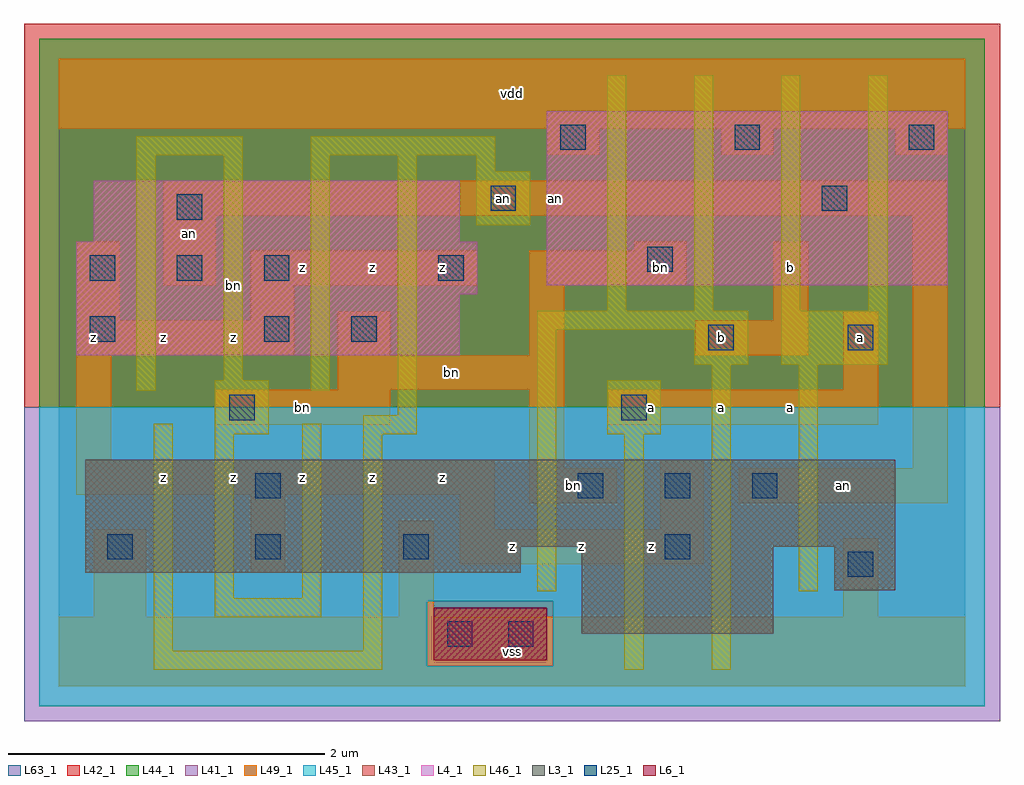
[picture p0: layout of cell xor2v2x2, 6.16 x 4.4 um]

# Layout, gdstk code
import gdstk
lib = gdstk.Library(unit=1e-6, precision=1e-09)
def R(c, l, rs):  # rectangles x0, y0, x1, y1
    for r in rs: c.add(gdstk.rectangle(r[:2], r[2:], *l))
def A(c, l, x, y, w, h, nx, ny, dx, dy):  # array of equal rectangles
    R(c, l, [(x+i*dx, y+j*dy, x+i*dx+w, y+j*dy+h) for i in range(nx) for j in range(ny)])
L3_1 = (3, 1)
L4_1 = (4, 1)
L6_1 = (6, 1)
L25_1 = (25, 1)
L41_1 = (41, 1)
L42_1 = (42, 1)
L43_1 = (43, 1)
L44_1 = (44, 1)
L45_1 = (45, 1)
L46_1 = (46, 1)
L49_1 = (49, 1)
L63_1 = (63, 1)

xor2v2x2 = lib.new_cell('xor2v2x2')
R(xor2v2x2, L3_1, [(3.3,0.33,4.51,0.88), (4.895,0.605,5.28,0.88), (0.165,0.715,2.915,0.88), (0.165,0.88,5.28,1.43)])
R(xor2v2x2, L4_1, [(0.11,2.09,2.53,2.475), (0.11,2.475,2.64,2.805), (3.08,2.53,5.61,3.63), (0.22,2.805,2.53,3.19)])
R(xor2v2x2, L6_1, [(2.365,0.165,3.08,0.495)])
A(xor2v2x2, L25_1, 0.305, 0.8, 0.16, 0.16, 3, 1, 0.935, 0)
A(xor2v2x2, L25_1, 3.275, 1.185, 0.16, 0.16, 3, 1, 0.55, 0)
A(xor2v2x2, L25_1, 0.195, 2.56, 0.16, 0.16, 3, 1, 0.55, 0)
A(xor2v2x2, L25_1, 3.165, 3.385, 0.16, 0.16, 3, 1, 1.1, 0)
R(xor2v2x2, L25_1, [(2.45,0.25,2.61,0.41), (2.835,0.25,2.995,0.41), (4.98,0.69,5.14,0.85), (3.825,0.8,3.985,0.96), (1.24,1.185,1.4,1.345), (1.075,1.68,1.235,1.84), (3.55,1.68,3.71,1.84), (4.1,2.12,4.26,2.28), (4.98,2.12,5.14,2.28), (0.195,2.175,0.355,2.335), (1.295,2.175,1.455,2.335), (1.845,2.175,2.005,2.335), (2.395,2.56,2.555,2.72), (3.715,2.615,3.875,2.775), (0.745,2.945,0.905,3.105), (2.725,3,2.885,3.16), (4.815,3,4.975,3.16)])
R(xor2v2x2, L41_1, [(-0.22,-0.22,5.94,1.76)])
R(xor2v2x2, L42_1, [(-0.22,1.76,5.94,4.18)])
R(xor2v2x2, L43_1, [(2.365,0.165,3.08,0.495), (3.3,0.33,4.51,0.88), (4.895,0.605,5.28,0.88), (0.165,0.715,2.915,0.88), (0.165,0.88,5.28,1.43), (0.11,2.09,2.53,2.475), (0.11,2.475,2.64,2.805), (3.08,2.53,5.61,3.63), (0.22,2.805,2.53,3.19)])
R(xor2v2x2, L44_1, [(2.325,0.125,3.12,0.535), (-0.125,1.76,5.845,4.085)])
R(xor2v2x2, L45_1, [(-0.125,-0.125,5.845,0.125), (-0.125,0.125,2.325,0.535), (3.12,0.125,5.845,0.535), (-0.125,0.535,5.845,1.76)])
A(xor2v2x2, L46_1, 3.46, 2.37, 0.12, 1.485, 4, 1, 0.55, 0)
R(xor2v2x2, L46_1, [(0.6,0.105,2.04,0.225), (3.57,0.105,3.69,1.59), (4.12,0.105,4.24,2.03), (0.6,0.225,0.72,1.655), (1.92,0.225,2.04,1.59), (0.985,0.435,1.655,0.555), (0.985,0.555,1.105,1.59), (1.535,0.555,1.655,1.655), (3.02,0.6,3.14,2.25), (4.67,0.6,4.79,2.03), (0.985,1.59,1.325,1.93), (1.92,1.59,2.26,1.71), (3.46,1.59,3.8,1.93), (2.14,1.71,2.26,3.35), (0.49,1.865,0.61,3.35), (1.59,1.865,1.71,3.35), (1.04,1.93,1.16,3.35), (4.01,2.03,4.35,2.25), (4.56,2.03,5.23,2.37), (3.02,2.25,4.35,2.37), (2.635,2.91,2.975,3.25), (2.635,3.25,2.755,3.35), (0.49,3.35,1.16,3.47), (1.59,3.35,2.755,3.47)])
A(xor2v2x2, L49_1, 3.08, 3.355, 0.33, 0.165, 3, 1, 1.1, 0)
R(xor2v2x2, L49_1, [(0,0,5.72,0.44), (0.22,0.44,0.55,0.99), (2.145,0.44,2.365,1.045), (4.95,0.44,5.17,0.935), (1.21,0.715,1.43,1.21), (2.53,0.77,4.07,0.99), (2.53,0.99,2.75,1.21), (3.795,0.99,4.07,1.43), (2.97,1.155,3.52,1.375), (4.29,1.155,5.61,1.375), (0.11,1.21,2.75,1.43), (2.97,1.375,3.19,1.87), (5.39,1.375,5.61,2.97), (0.11,1.43,0.33,2.09), (0.99,1.65,2.09,1.87), (3.465,1.65,5.17,1.87), (1.76,1.87,3.19,2.09), (4.95,1.87,5.17,2.365), (0.11,2.09,1.485,2.31), (1.76,2.09,2.09,2.365), (2.97,2.09,3.19,2.53), (4.015,2.09,4.73,2.31), (0.11,2.31,0.385,2.805), (1.21,2.31,1.485,2.53), (4.51,2.31,4.73,2.805), (0.66,2.53,0.99,2.97), (1.21,2.53,2.64,2.75), (2.97,2.53,3.96,2.75), (3.63,2.75,3.96,2.805), (0.66,2.97,5.61,3.19), (0,3.52,5.72,3.96)])
R(xor2v2x2, L63_1, [(0,0,5.72,3.96)])
xor2v2x2.add(gdstk.Label('bn', (1.1,2.53), layer=46, texttype=1))
xor2v2x2.add(gdstk.Label('an', (2.805,3.08), layer=49, texttype=1))
xor2v2x2.add(gdstk.Label('z', (0.66,1.32), layer=49, texttype=1))
xor2v2x2.add(gdstk.Label('z', (0.22,2.2), layer=49, texttype=1))
xor2v2x2.add(gdstk.Label('z', (0.66,2.2), layer=49, texttype=1))
xor2v2x2.add(gdstk.Label('an', (0.825,2.86), layer=49, texttype=1))
xor2v2x2.add(gdstk.Label('z', (1.1,1.32), layer=49, texttype=1))
xor2v2x2.add(gdstk.Label('z', (1.54,1.32), layer=49, texttype=1))
xor2v2x2.add(gdstk.Label('z', (1.98,1.32), layer=49, texttype=1))
xor2v2x2.add(gdstk.Label('bn', (1.54,1.76), layer=49, texttype=1))
xor2v2x2.add(gdstk.Label('z', (1.1,2.2), layer=49, texttype=1))
xor2v2x2.add(gdstk.Label('z', (1.54,2.64), layer=49, texttype=1))
xor2v2x2.add(gdstk.Label('z', (1.98,2.64), layer=49, texttype=1))
xor2v2x2.add(gdstk.Label('vss', (2.86,0.22), layer=49, texttype=1))
xor2v2x2.add(gdstk.Label('z', (3.3,0.88), layer=49, texttype=1))
xor2v2x2.add(gdstk.Label('z', (2.86,0.88), layer=49, texttype=1))
xor2v2x2.add(gdstk.Label('z', (2.42,1.32), layer=49, texttype=1))
xor2v2x2.add(gdstk.Label('bn', (2.475,1.98), layer=49, texttype=1))
xor2v2x2.add(gdstk.Label('z', (2.42,2.64), layer=49, texttype=1))
xor2v2x2.add(gdstk.Label('vdd', (2.86,3.74), layer=49, texttype=1))
xor2v2x2.add(gdstk.Label('z', (3.74,0.88), layer=49, texttype=1))
xor2v2x2.add(gdstk.Label('bn', (3.245,1.265), layer=49, texttype=1))
xor2v2x2.add(gdstk.Label('a', (4.18,1.76), layer=49, texttype=1))
xor2v2x2.add(gdstk.Label('a', (3.74,1.76), layer=49, texttype=1))
xor2v2x2.add(gdstk.Label('b', (4.18,2.2), layer=49, texttype=1))
xor2v2x2.add(gdstk.Label('bn', (3.795,2.64), layer=49, texttype=1))
xor2v2x2.add(gdstk.Label('an', (4.95,1.265), layer=49, texttype=1))
xor2v2x2.add(gdstk.Label('a', (4.62,1.76), layer=49, texttype=1))
xor2v2x2.add(gdstk.Label('a', (5.06,2.2), layer=49, texttype=1))
xor2v2x2.add(gdstk.Label('b', (4.62,2.64), layer=49, texttype=1))
xor2v2x2.add(gdstk.Label('an', (3.135,3.08), layer=49, texttype=1))

lib.write_gds('xor2v2x2.gds')
